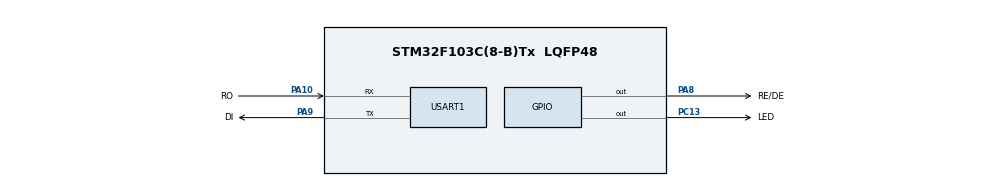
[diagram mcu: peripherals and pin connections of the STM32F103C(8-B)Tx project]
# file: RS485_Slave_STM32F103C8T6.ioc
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Mcu.Family=STM32F1
Mcu.Name=STM32F103C(8-B)Tx
Mcu.Package=LQFP48
NVIC.PriorityGroup=NVIC_PRIORITYGROUP_4
PA10.GPIO_Label=RO
PA10.Mode=Asynchronous
PA10.Signal=USART1_RX
PA13.Mode=Serial_Wire
PA13.Signal=SYS_JTMS-SWDIO
PA14.Mode=Serial_Wire
PA14.Signal=SYS_JTCK-SWCLK
PA8.GPIO_Label=RE/DE
PA8.Signal=GPIO_Output
PA9.GPIO_Label=DI
PA9.Mode=Asynchronous
PA9.Signal=USART1_TX
PC13-TAMPER-RTC.GPIO_Label=LED
PC13-TAMPER-RTC.Signal=GPIO_Output
PD0-OSC_IN.Mode=HSE-External-Oscillator
PD0-OSC_IN.Signal=RCC_OSC_IN
PD1-OSC_OUT.Mode=HSE-External-Oscillator
PD1-OSC_OUT.Signal=RCC_OSC_OUT
ProjectManager.HeapSize=0x200
ProjectManager.StackSize=0x400
ProjectManager.TargetToolchain=STM32CubeIDE
RCC.APB1Freq_Value=8000000
RCC.APB2Freq_Value=8000000
USART1.VirtualMode=VM_ASYNC
board=custom

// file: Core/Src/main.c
/* USER CODE BEGIN Header */
/**
  ******************************************************************************
  * @file           : main.c
  * @brief          : Main program body
  ******************************************************************************
  * @attention
  *
  * <h2><center>&copy; Copyright (c) 2020 STMicroelectronics.
  * All rights reserved.</center></h2>
  *
  * This software component is licensed by ST under BSD 3-Clause license,
  * the "License"; You may not use this file except in compliance with the
  * License. You may obtain a copy of the License at:
  *                        opensource.org/licenses/BSD-3-Clause
  *
  ******************************************************************************
  */
/* USER CODE END Header */
#include "main.h"

/* USER CODE BEGIN PM */

typedef enum error {
    SYS_OK, SYS_ERROR, SYS_BUSY, SYS_TIMEOUT
} error_t;

typedef struct sensor_board_handle {
    uint8_t sensorBoardID :5;
    uint8_t pad1_status :1;
    uint8_t pad2_status :1;
    uint8_t beltSensor1_status :1;
    uint8_t beltSensor2_status :1;
    uint8_t error_status;

} sensor_board_handler_t;

sensor_board_handler_t sensor;

/* USER CODE END PM */

UART_HandleTypeDef huart1;

/* USER CODE BEGIN PV */
uint8_t rx_buffer [1];
uint8_t tx_buffer[6];
int count;

/* USER CODE END PV */

void SystemClock_Config(void);
static void MX_GPIO_Init(void);
static void MX_USART1_UART_Init(void);

int main(void)
{

  /* MCU Configuration--------------------------------------------------------*/

  /* Reset of all peripherals, Initializes the Flash interface and the Systick. */
  HAL_Init();

  /* Configure the system clock */
  SystemClock_Config();

  /* Initialize all configured peripherals */
  MX_GPIO_Init();
  MX_USART1_UART_Init();
  /* USER CODE BEGIN 2 */

  sensor.sensorBoardID=0b10001;
  sensor.pad1_status=1;
  sensor.pad2_status=0;
  sensor.beltSensor1_status=1;
  sensor.beltSensor2_status=0;
  sensor.error_status=0x0C;

  tx_buffer[0]=sensor.sensorBoardID;

  /* USER CODE END 2 */

  /* Infinite loop */
  while (1)
  {

    /* USER CODE BEGIN 3 */

      HAL_GPIO_WritePin(LED_GPIO_Port, LED_Pin, RESET);

      HAL_UART_Receive(&huart1, rx_buffer, 1,0xFF);
          if(tx_buffer[0]==rx_buffer[0])
          {

                    tx_buffer[0]=sensor.sensorBoardID;
                    tx_buffer[1]=sensor.pad1_status;
                    tx_buffer[2]=sensor.pad2_status;
                    tx_buffer[3]=sensor.beltSensor1_status;
                    tx_buffer[4]=sensor.beltSensor2_status;
                    tx_buffer[5]=sensor.error_status;

                    HAL_GPIO_WritePin(RE_DE_GPIO_Port, RE_DE_Pin, SET);
                    HAL_GPIO_WritePin(LED_GPIO_Port, LED_Pin, SET);

                    HAL_UART_Transmit(&huart1, tx_buffer, 6,0xFF);

                    HAL_GPIO_WritePin(RE_DE_GPIO_Port, RE_DE_Pin, RESET);
                    HAL_GPIO_WritePin(LED_GPIO_Port, LED_Pin, RESET);

          }
          else
              HAL_GPIO_WritePin(LED_GPIO_Port, LED_Pin, RESET);

  }
  /* USER CODE END 3 */
}

void SystemClock_Config(void)
{
  RCC_OscInitTypeDef RCC_OscInitStruct = {0};
  RCC_ClkInitTypeDef RCC_ClkInitStruct = {0};

  /** Initializes the RCC Oscillators according to the specified parameters
  * in the RCC_OscInitTypeDef structure.
  */
  RCC_OscInitStruct.OscillatorType = RCC_OSCILLATORTYPE_HSI;
  RCC_OscInitStruct.HSIState = RCC_HSI_ON;
  RCC_OscInitStruct.HSICalibrationValue = RCC_HSICALIBRATION_DEFAULT;
  RCC_OscInitStruct.PLL.PLLState = RCC_PLL_NONE;
  if (HAL_RCC_OscConfig(&RCC_OscInitStruct) != HAL_OK)
  {
    Error_Handler();
  }
  /** Initializes the CPU, AHB and APB buses clocks
  */
  RCC_ClkInitStruct.ClockType = RCC_CLOCKTYPE_HCLK|RCC_CLOCKTYPE_SYSCLK
                              |RCC_CLOCKTYPE_PCLK1|RCC_CLOCKTYPE_PCLK2;
  RCC_ClkInitStruct.SYSCLKSource = RCC_SYSCLKSOURCE_HSI;
  RCC_ClkInitStruct.AHBCLKDivider = RCC_SYSCLK_DIV1;
  RCC_ClkInitStruct.APB1CLKDivider = RCC_HCLK_DIV1;
  RCC_ClkInitStruct.APB2CLKDivider = RCC_HCLK_DIV1;

  if (HAL_RCC_ClockConfig(&RCC_ClkInitStruct, FLASH_LATENCY_0) != HAL_OK)
  {
    Error_Handler();
  }
}

static void MX_USART1_UART_Init(void)
{

  huart1.Instance = USART1;
  huart1.Init.BaudRate = 115200;
  huart1.Init.WordLength = UART_WORDLENGTH_8B;
  huart1.Init.StopBits = UART_STOPBITS_1;
  huart1.Init.Parity = UART_PARITY_NONE;
  huart1.Init.Mode = UART_MODE_TX_RX;
  huart1.Init.HwFlowCtl = UART_HWCONTROL_NONE;
  huart1.Init.OverSampling = UART_OVERSAMPLING_16;
  if (HAL_UART_Init(&huart1) != HAL_OK)
  {
    Error_Handler();
  }

}

static void MX_GPIO_Init(void)
{
  GPIO_InitTypeDef GPIO_InitStruct = {0};

  /* GPIO Ports Clock Enable */
  __HAL_RCC_GPIOC_CLK_ENABLE();
  __HAL_RCC_GPIOD_CLK_ENABLE();
  __HAL_RCC_GPIOA_CLK_ENABLE();

  /*Configure GPIO pin Output Level */
  HAL_GPIO_WritePin(LED_GPIO_Port, LED_Pin, GPIO_PIN_RESET);

  /*Configure GPIO pin Output Level */
  HAL_GPIO_WritePin(RE_DE_GPIO_Port, RE_DE_Pin, GPIO_PIN_RESET);

  /*Configure GPIO pin : LED_Pin */
  GPIO_InitStruct.Pin = LED_Pin;
  GPIO_InitStruct.Mode = GPIO_MODE_OUTPUT_PP;
  GPIO_InitStruct.Pull = GPIO_NOPULL;
  GPIO_InitStruct.Speed = GPIO_SPEED_FREQ_LOW;
  HAL_GPIO_Init(LED_GPIO_Port, &GPIO_InitStruct);

  /*Configure GPIO pin : RE_DE_Pin */
  GPIO_InitStruct.Pin = RE_DE_Pin;
  GPIO_InitStruct.Mode = GPIO_MODE_OUTPUT_PP;
  GPIO_InitStruct.Pull = GPIO_NOPULL;
  GPIO_InitStruct.Speed = GPIO_SPEED_FREQ_LOW;
  HAL_GPIO_Init(RE_DE_GPIO_Port, &GPIO_InitStruct);

}

void Error_Handler(void)
{
}

/************************ (C) COPYRIGHT STMicroelectronics *****END OF FILE****/
